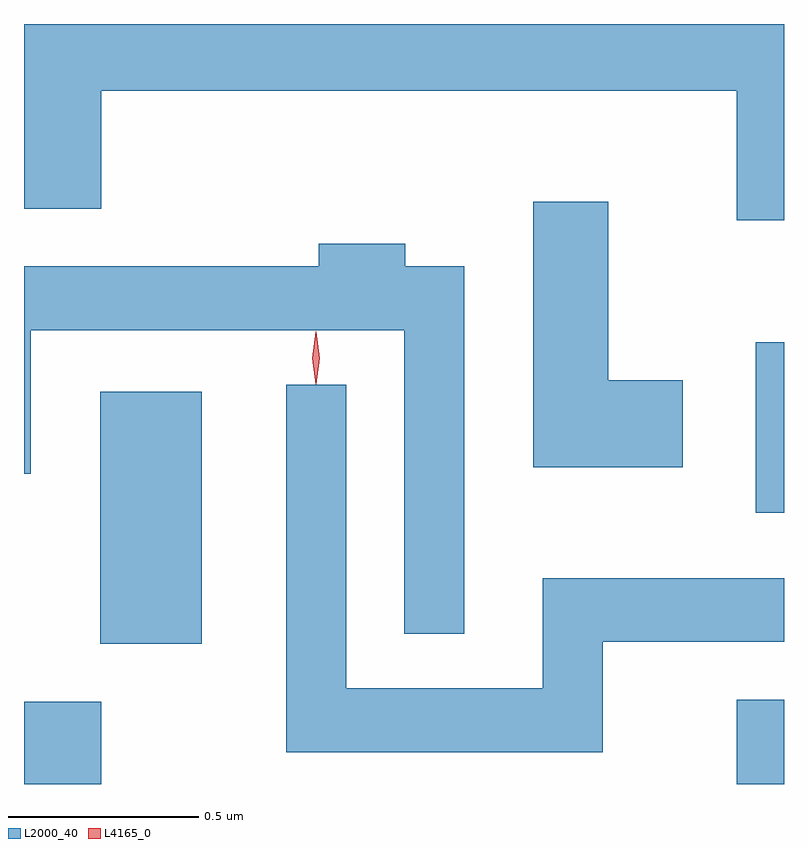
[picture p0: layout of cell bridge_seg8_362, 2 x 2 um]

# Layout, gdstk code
import gdstk
lib = gdstk.Library(unit=1e-6, precision=1e-09)
def R(c, l, rs):  # rectangles x0, y0, x1, y1
    for r in rs: c.add(gdstk.rectangle(r[:2], r[2:], *l))
def P(c, l, *ps):  # polygons
    for p in ps: c.add(gdstk.Polygon(p, *l))
L2000_40 = (2000, 40)
L4165_0 = (4165, 0)

bridge_seg8_362 = lib.new_cell('bridge_seg8_362')
R(bridge_seg8_362, L2000_40, [(732.326,1918.952,732.529,1919.169), (734.201,1918.952,734.326,1919.174), (732.526,1919.321,732.794,1919.984), (734.251,1919.666,734.326,1920.114)])
P(bridge_seg8_362, L2000_40, [(734.326,1920.952),(732.326,1920.952),(732.326,1920.466),(732.529,1920.466),(732.529,1920.776),(734.201,1920.776),(734.201,1920.436),(734.326,1920.436)],
  [(734.059,1920.014),(733.864,1920.014),(733.864,1920.484),(733.666,1920.484),(733.666,1919.786),(734.059,1919.786)],
  [(733.484,1920.314),(733.329,1920.314),(733.329,1920.374),(733.101,1920.374),(733.101,1920.314),(732.326,1920.314),(732.326,1919.768),(732.344,1919.768),(732.344,1920.146),(733.326,1920.146),(733.326,1919.348),(733.484,1919.348)],
  [(733.849,1919.326),(734.326,1919.326),(734.326,1919.494),(733.691,1919.494),(733.691,1919.204),(733.174,1919.204),(733.174,1920.003),(733.016,1920.003),(733.016,1919.036),(733.849,1919.036)])
P(bridge_seg8_362, L4165_0, [(733.094,1920.004),(733.094,1920.004),(733.084,1920.073),(733.094,1920.142),(733.094,1920.143),(733.095,1920.142),(733.104,1920.073),(733.095,1920.004)])

lib.write_gds('bridge_seg8_362.gds')
